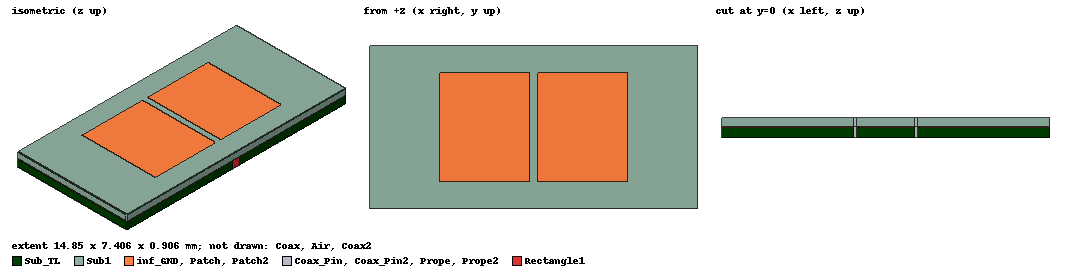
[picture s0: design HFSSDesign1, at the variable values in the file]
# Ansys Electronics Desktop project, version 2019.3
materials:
  vacuum: permittivity=1
  Rogers RT/duroid 5880 (tm): permittivity=2.2 dielectric_loss_tangent=0.0009
  pec: conductivity=1e+30
  Rogers RO4003 (tm): permittivity=3.55 dielectric_loss_tangent=0.0027

design HFSSDesign1 (HFSS, DrivenModal, model units mm)
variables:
  Lp = 4.1mm  # optimise 0.1mm..5mm
  Wp = 4.97mm  # optimise 1mm..6mm
  hs = 0.406mm
  Ws = 7.406mm
  Ls = 14.846mm
  xsub = -Ls/2
  ysub = -Ws/2
  xfeed = 1.2mm
  dp = 0.343834434mm
  rcoax = 0.16mm
  hcoax = 0.5mm
  rprope = 0.07mm
  Lair = 0.01+Ls
  Wair = 0.01+Ws
  xair = Lair/2
  yair = Wair/2
  hair = 5mm
  yfeed = 0mm
  xp = dp/2
  yp = -Wp/2
  hgnd = -0.032mm
  X_TL_1 = 2.288307mm
  Y_TL_1 = 0.276146mm
  Y_TL_vertical = 3.105225mm
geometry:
  Sub1 [Rogers RO4003 (tm)] = box(corner=(xsub, ysub, 0mm), size=(Ls, Ws, hs))
  Patch [Rogers RT/duroid 5880 (tm)] = rectangle(corner=(xp, yp, hs), x_size=Lp, y_size=Wp)
  Coax [vacuum] = cylinder(axis=Z, base_centre=(xp+xfeed, yfeed, 0mm), radius=rcoax, height=-hcoax)
  Coax_Pin [pec] = cylinder(axis=Z, base_centre=(xp+xfeed, yfeed, 0mm), radius=rprope, height=-hcoax)
  Prope [pec] = cylinder(axis=Z, base_centre=(xp+xfeed, yfeed, 0mm), radius=rprope, height=hs)
  Air [vacuum] = box(corner=(-xair, -yair, -hcoax-0.1mm), size=(Lair, Wair, hair))
  Patch2 = rectangle(corner=(xp-Lp-dp, yp, hs), x_size=Lp, y_size=Wp)
  Coax2 [vacuum] = cylinder(axis=Z, base_centre=(-(xp+xfeed), yfeed, 0mm), radius=rcoax, height=-hcoax)
  Coax_Pin2 [pec] = cylinder(axis=Z, base_centre=(-(xp+xfeed), yfeed, 0mm), radius=rprope, height=-hcoax)
  Prope2 [pec] = cylinder(axis=Z, base_centre=(-(xp+xfeed), yfeed, 0mm), radius=rprope, height=hs)
  inf_GND [pec] = box(corner=(xsub, ysub, 0mm), size=(Ls, Ws, hgnd))
  Cylinder_cut_2 = cylinder(axis=Z, base_centre=(-(xp+xfeed), yfeed, 0), radius=rcoax, height=hgnd)
  Cylinder_cut_1 = cylinder(axis=Z, base_centre=(xp+xfeed, yfeed, 0), radius=rcoax, height=hgnd)
  inf_GND.subtract(Cylinder_cut_1)
  inf_GND.subtract(Cylinder_cut_2)
  Sub_TL [Rogers RO4003 (tm)] = box(corner=(xsub, ysub, 0mm), size=(Ls, Ws, -hcoax))
  TL1 = rectangle(corner=(-1mm, -0.18mm, -hcoax), x_size=-0.7mm, y_size=0.4mm)
  TL2 [pec] = rectangle(corner=(1mm, -0.18mm, -hcoax), x_size=0.7mm, y_size=0.4mm)
  vertical_R = rectangle(corner=(0.941693mm, -0.18mm, -hcoax), x_size=0.276146mm, y_size=Y_TL_vertical)
  vertiacal_L = rectangle(corner=(-0.941693mm, -0.18mm, -hcoax), x_size=0.276146mm, y_size=Y_TL_vertical)
  vertiacal_L.move(-0.8mm, 0mm, 0mm)
  vertiacal_L.move(0.52mm, 0mm, 0mm)
  tL_horizontal = rectangle(corner=(-1.221693mm, 2.965225mm, -hcoax), x_size=2.437693mm, y_size=0.276146mm)
  tL_horizontal.move(0mm, -0.6mm, 0mm)
  tL_horizontal.move(0mm, 0.325mm, 0mm)
  TL1.unite(vertiacal_L)
  TL2.unite(vertical_R)
  TL2.unite(tL_horizontal)
  TL2.unite(TL1)
  T_feed = rectangle(corner=(-(0.45407/2) mm, 3.703mm, -hcoax), x_size=0.45407mm, y_size=-0.736629mm)
  TL2.unite(T_feed)
  Rectangle1 = rectangle(corner=(-(0.45407/2) mm, 3.703mm, -hcoax), z_size=hcoax+hgnd, x_size=0.45407mm)
  group Input_feed1 = Coax, Coax_Pin, Prope
  group Input_feed2 = Coax2, Coax_Pin2, Prope2
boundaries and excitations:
  PerfE_Patch: Perfect E Objects=Patch
  Rad1: Radiation Faces=Air.face(+x, +y, -y, -x, +z)
  PerfE1: Perfect E Objects=Patch2
  PerfE_TL: Perfect E Objects=TL2
  1: Lumped Port Objects=Rectangle1 Modes{Mode1{IntLine{middle of Rectangle1.edge(z opposite corner) -> middle of Rectangle1.edge(z at corner)} CharImp=Zpi RenormImp=50ohm}} Impedance=50ohm
  reference conductors: inf_GND
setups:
  Setup1: HfssDriven Frequency=20GHz MaxDeltaS=0.02 MaximumPasses=18 MinimumPasses=1 MinimumConvergedPasses=1 PercentRefinement=30 BasisOrder=1 PortAccuracy=2
    sweep Sweep: 10GHz to 30GHz step 0.1GHz; Type=Fast SaveFields SaveRadFields GenerateFieldsForAllFreqs
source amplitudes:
  1:1: 1W 0deg
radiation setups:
  e_plane: Infinite Sphere Theta=-180deg..180deg step 2deg Phi=0deg..0deg step 1deg
  h_plane: Infinite Sphere Theta=-180deg..180deg step 2deg Phi=90deg..90deg step 1deg
  3d: Infinite Sphere Theta=-180deg..180deg step 2deg Phi=0deg..360deg step 2deg
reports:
  Eradation_pattern: abs(rETotal) vs Theta on Setup1 : LastAdaptive, e_plane [Phi=all Freq=20GHz]
  Hradation_pattern: abs(rETotal) vs Theta on Setup1 : LastAdaptive, h_plane [Phi=all Freq=20GHz]
  Co_X_graph: dB10normalize(GainPhi), dB10normalize(GainTheta) vs Theta on Setup1 : LastAdaptive, e_plane [Phi=0deg Freq=20GHz]
  Gain Plot 1: GainTotal vs Theta on Setup1 : LastAdaptive, e_plane [Phi=all Freq=20GHz]
  S Parameter Plot 1: dB(S(1,1)) vs Freq on Setup1 : Sweep
  Gain Plot 2: mag(GainTotal) vs Phi, Theta on Setup1 : LastAdaptive, 3d [Freq=20GHz]
